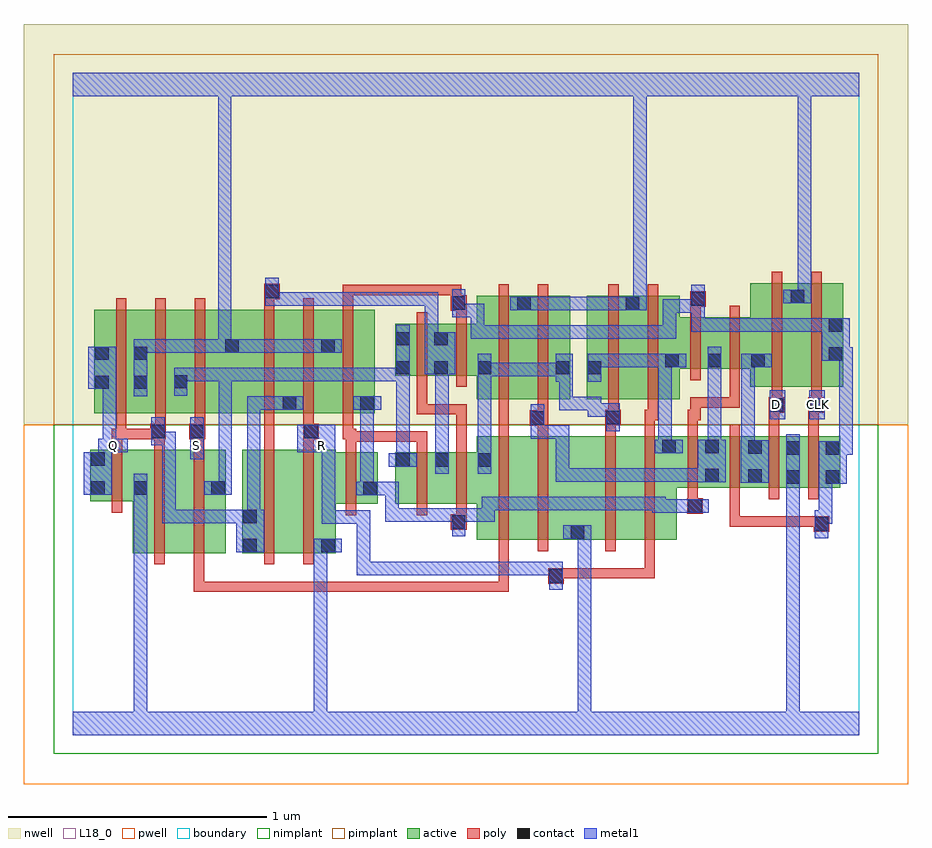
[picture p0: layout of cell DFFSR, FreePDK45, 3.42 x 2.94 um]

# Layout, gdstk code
import gdstk
lib = gdstk.Library(unit=1e-6, precision=1e-09)
def R(c, l, rs):  # rectangles x0, y0, x1, y1
    for r in rs: c.add(gdstk.rectangle(r[:2], r[2:], *l))
def A(c, l, x, y, w, h, nx, ny, dx, dy):  # array of equal rectangles
    R(c, l, [(x+i*dx, y+j*dy, x+i*dx+w, y+j*dy+h) for i in range(nx) for j in range(ny)])
active = (1, 0)
pwell = (2, 0)
nwell = (3, 0)
nimplant = (4, 0)
pimplant = (5, 0)
poly = (9, 0)
contact = (10, 0)
metal1 = (11, 0)
L18_0 = (18, 0)
boundary = (235, 0)

dffsr = lib.new_cell('DFFSR')
A(dffsr, active, 2.274, 0.956, 0.06, 0.2, 3, 1, 0.166, 0)
R(dffsr, active, [(0.232,0.704,0.412,1.104), (0.412,0.704,0.592,1.104), (0.656,0.704,0.836,1.104), (0.656,0.704,0.716,1.104), (0.836,0.704,1.016,1.104), (0.956,0.704,1.016,0.894), (0.532,0.756,0.592,1.104), (1.562,0.756,1.742,1.156), (1.742,0.756,1.98,1.156), (1.92,0.756,2.154,1.156), (1.92,0.756,1.98,0.816), (2.154,0.756,2.334,1.156), (0.956,0.894,1.18,1.094), (1.12,0.894,1.18,1.094), (1.246,0.894,1.458,1.094), (1.398,0.894,1.622,1.094), (0.068,0.904,0.128,1.104), (0.068,0.904,0.292,1.104), (0.232,0.926,0.292,1.104), (1.246,0.956,1.306,1.094), (1.398,0.956,1.458,1.094), (1.562,0.956,1.622,1.094), (2.274,0.956,2.5,1.156), (2.44,0.956,2.666,1.156), (2.606,0.956,2.814,1.156), (2.754,0.956,2.814,1.156), (2.754,0.956,2.966,1.156), (2.906,0.956,2.966,1.156), (0.084,1.244,0.144,1.644), (0.084,1.244,0.292,1.644), (0.232,1.244,0.292,1.644), (0.232,1.244,0.448,1.644), (0.388,1.244,0.448,1.644), (0.388,1.244,0.646,1.644), (0.586,1.244,0.646,1.644), (0.586,1.244,0.868,1.644), (0.808,1.244,0.868,1.644), (0.808,1.244,1.016,1.644), (0.956,1.244,1.168,1.644), (1.108,1.244,1.168,1.644), (1.562,1.298,1.774,1.698), (1.714,1.298,1.922,1.698), (1.862,1.298,1.922,1.644), (1.986,1.298,2.194,1.698), (1.986,1.298,2.046,1.644), (2.134,1.298,2.194,1.698), (2.134,1.298,2.346,1.698), (1.714,1.308,1.774,1.698), (0.956,1.312,1.016,1.644), (2.618,1.346,2.83,1.746), (2.77,1.346,2.83,1.746), (2.77,1.346,2.978,1.746), (2.918,1.346,2.978,1.746), (1.246,1.39,1.306,1.59), (1.246,1.39,1.454,1.59), (1.394,1.39,1.622,1.59), (1.394,1.39,1.454,1.562), (1.562,1.39,1.622,1.45), (2.286,1.416,2.51,1.616), (2.45,1.416,2.51,1.478), (2.45,1.416,2.678,1.616), (2.618,1.416,2.678,1.478), (2.286,1.418,2.346,1.478)])
R(dffsr, pwell, [(-0.188,-0.188,3.228,1.2)])
R(dffsr, nwell, [(-0.188,1.2,3.228,2.748)])
R(dffsr, nimplant, [(-0.072,-0.072,3.112,1.2)])
R(dffsr, pimplant, [(-0.072,1.2,3.112,2.632)])
A(dffsr, poly, 2.538, 0.912, 0.04, 0.288, 3, 1, 0.152, 0)
A(dffsr, poly, 0.168, 1.2, 0.04, 0.488, 3, 1, 0.152, 0)
A(dffsr, poly, 0.74, 1.2, 0.04, 0.488, 3, 1, 0.152, 0)
R(dffsr, poly, [(0.468,0.554,0.508,0.594), (0.468,0.554,0.508,0.594), (0.468,0.554,0.508,0.594), (0.468,0.554,0.508,0.7), (0.468,0.554,0.614,0.594), (0.574,0.554,0.614,0.594), (0.574,0.554,0.614,0.594), (0.574,0.554,0.614,0.594), (0.574,0.554,0.78,0.594), (0.74,0.554,0.78,0.594), (0.74,0.554,0.78,0.594), (0.74,0.554,0.78,0.594), (0.74,0.554,0.886,0.594), (0.846,0.554,0.886,0.594), (0.846,0.554,1.096,0.594), (1.056,0.554,1.096,0.594), (1.056,0.554,1.096,0.594), (1.056,0.554,1.096,0.594), (1.056,0.554,1.358,0.594), (1.318,0.554,1.358,0.594), (1.318,0.554,1.358,0.594), (1.318,0.554,1.358,0.594), (1.318,0.554,1.476,0.594), (1.436,0.554,1.476,0.594), (1.436,0.554,1.476,0.594), (1.436,0.554,1.476,0.594), (1.436,0.554,1.686,0.594), (1.646,0.554,1.686,0.594), (1.646,0.554,1.686,0.594), (1.646,0.554,1.686,0.594), (1.646,0.554,1.686,0.752), (1.838,0.586,1.898,0.646), (1.858,0.606,1.898,0.646), (1.858,0.606,1.898,0.646), (1.858,0.606,2.004,0.646), (1.964,0.606,2.004,0.646), (1.964,0.606,2.004,0.646), (1.964,0.606,2.004,0.646), (1.964,0.606,2.25,0.646), (2.21,0.606,2.25,0.646), (2.21,0.606,2.25,0.646), (2.21,0.606,2.25,0.646), (2.21,0.606,2.25,0.752), (0.316,0.66,0.356,1.148), (0.468,0.66,0.508,1.148), (0.74,0.66,0.78,1.148), (0.892,0.66,0.932,1.148), (1.646,0.712,1.686,1.2), (1.798,0.712,1.838,1.2), (2.058,0.712,2.098,1.2), (2.21,0.712,2.25,1.2), (2.864,0.786,2.924,0.846), (1.462,0.794,1.522,0.854), (2.538,0.806,2.578,0.846), (2.538,0.806,2.776,0.846), (2.538,0.806,2.578,0.952), (2.736,0.806,2.776,0.846), (2.736,0.806,2.776,0.846), (2.736,0.806,2.776,0.846), (2.736,0.806,2.904,0.846), (2.864,0.806,2.904,0.846), (2.864,0.806,2.904,0.846), (1.482,0.814,1.522,0.89), (1.056,0.85,1.096,1.138), (1.33,0.85,1.37,1.138), (1.482,0.85,1.522,1.138), (2.374,0.856,2.434,0.916), (0.152,0.86,0.192,1.148), (2.376,0.876,2.416,0.952), (2.376,0.912,2.416,1.2), (1.056,1.098,1.096,1.174), (1.33,1.098,1.37,1.174), (1.482,1.098,1.522,1.28), (0.152,1.108,0.192,1.184), (0.316,1.108,0.356,1.184), (0.468,1.108,0.508,1.184), (0.74,1.108,0.78,1.184), (0.892,1.108,0.932,1.184), (1.056,1.134,1.096,1.174), (1.056,1.134,1.096,1.174), (1.056,1.134,1.096,1.174), (1.056,1.134,1.37,1.174), (1.056,1.134,1.096,1.184), (1.33,1.134,1.37,1.174), (1.33,1.134,1.37,1.174), (1.33,1.134,1.37,1.174), (0.152,1.144,0.208,1.184), (0.168,1.144,0.208,1.184), (0.168,1.144,0.208,1.184), (0.168,1.144,0.208,1.24), (0.168,1.144,0.34,1.184), (0.3,1.144,0.34,1.184), (0.3,1.144,0.34,1.184), (0.3,1.144,0.36,1.204), (0.45,1.144,0.512,1.204), (0.468,1.144,0.508,1.184), (0.468,1.144,0.508,1.184), (0.74,1.144,0.78,1.184), (0.74,1.144,0.78,1.184), (0.74,1.144,0.78,1.184), (0.74,1.144,0.78,1.24), (0.892,1.144,0.952,1.204), (1.044,1.144,1.096,1.184), (1.044,1.144,1.084,1.24), (1.646,1.16,1.686,1.258), (1.798,1.16,1.838,1.236), (2.058,1.16,2.098,1.238), (2.21,1.16,2.25,1.258), (2.376,1.16,2.416,1.258), (2.69,1.16,2.73,1.286), (2.842,1.16,2.882,1.286), (0.32,1.164,0.36,1.24), (0.32,1.164,0.36,1.204), (0.32,1.164,0.36,1.204), (0.472,1.164,0.512,1.24), (0.892,1.164,0.932,1.24), (0.892,1.164,0.932,1.204), (0.892,1.164,0.932,1.204), (1.766,1.196,1.838,1.256), (2.058,1.198,2.098,1.238), (2.058,1.198,2.098,1.238), (2.058,1.198,2.118,1.258), (1.798,1.216,1.838,1.256), (1.798,1.216,1.838,1.256), (1.798,1.216,1.838,1.294), (1.646,1.218,1.686,1.294), (1.646,1.218,1.686,1.258), (1.646,1.218,1.686,1.258), (1.646,1.218,1.686,1.258), (2.07,1.218,2.11,1.294), (2.21,1.218,2.262,1.258), (2.222,1.218,2.262,1.294), (2.222,1.218,2.262,1.258), (2.222,1.218,2.262,1.258), (2.376,1.218,2.426,1.258), (2.386,1.218,2.426,1.306), (1.33,1.24,1.37,1.28), (1.33,1.24,1.37,1.386), (1.33,1.24,1.522,1.28), (1.482,1.24,1.522,1.28), (1.482,1.24,1.522,1.28), (1.482,1.24,1.522,1.28), (1.482,1.24,1.522,1.28), (1.482,1.24,1.522,1.28), (2.69,1.246,2.75,1.306), (2.842,1.246,2.882,1.286), (2.842,1.246,2.882,1.286), (2.842,1.246,2.902,1.306), (1.646,1.254,1.686,1.742), (1.798,1.254,1.838,1.742), (2.07,1.254,2.11,1.742), (2.222,1.254,2.262,1.742), (2.386,1.266,2.426,1.306), (2.386,1.266,2.426,1.306), (2.386,1.266,2.426,1.306), (2.386,1.266,2.578,1.306), (2.538,1.266,2.578,1.306), (2.538,1.266,2.578,1.412), (2.702,1.266,2.742,1.342), (2.702,1.266,2.742,1.306), (2.702,1.266,2.742,1.306), (2.854,1.266,2.894,1.342), (2.702,1.302,2.742,1.79), (2.854,1.302,2.894,1.79), (1.33,1.346,1.37,1.634), (1.482,1.346,1.522,1.634), (2.386,1.372,2.426,1.66), (2.538,1.372,2.578,1.66), (1.482,1.594,1.522,1.68), (2.386,1.62,2.426,1.696), (1.462,1.64,1.522,1.7), (0.74,1.648,0.78,1.724), (1.044,1.648,1.084,1.74), (2.386,1.656,2.446,1.716), (1.462,1.66,1.502,1.7), (1.462,1.66,1.502,1.74), (0.74,1.684,0.8,1.744), (1.044,1.7,1.084,1.74), (1.044,1.7,1.084,1.74), (1.044,1.7,1.084,1.74), (1.044,1.7,1.21,1.74), (1.17,1.7,1.21,1.74), (1.17,1.7,1.21,1.74), (1.17,1.7,1.21,1.74), (1.17,1.7,1.21,1.74), (1.17,1.7,1.21,1.74), (1.17,1.7,1.21,1.74), (1.17,1.7,1.21,1.74), (1.17,1.7,1.502,1.74)])
R(dffsr, contact, [(1.842,0.59,1.894,0.642), (0.66,0.708,0.712,0.76), (0.96,0.708,1.012,0.76), (1.924,0.76,1.976,0.812), (2.868,0.79,2.92,0.842), (1.466,0.798,1.518,0.85), (0.66,0.82,0.712,0.872), (2.378,0.86,2.43,0.912), (1.124,0.928,1.176,0.98), (0.072,0.93,0.124,0.982), (0.236,0.93,0.288,0.982), (0.536,0.93,0.588,0.982), (2.758,0.972,2.81,1.024), (2.91,0.972,2.962,1.024), (2.61,0.976,2.662,1.028), (2.444,0.978,2.496,1.03), (1.25,1.038,1.302,1.09), (1.402,1.038,1.454,1.09), (1.566,1.038,1.618,1.09), (0.072,1.042,0.124,1.094), (2.758,1.084,2.81,1.136), (2.91,1.084,2.962,1.136), (2.61,1.088,2.662,1.14), (2.278,1.09,2.33,1.142), (2.444,1.09,2.496,1.142), (0.304,1.148,0.356,1.2), (0.454,1.148,0.506,1.2), (0.896,1.148,0.948,1.2), (1.77,1.2,1.822,1.252), (2.062,1.202,2.114,1.254), (2.694,1.25,2.746,1.302), (2.846,1.25,2.898,1.302), (0.812,1.258,0.864,1.31), (1.112,1.258,1.164,1.31), (0.088,1.338,0.14,1.39), (0.236,1.338,0.288,1.39), (0.392,1.34,0.444,1.392), (1.25,1.394,1.302,1.446), (1.398,1.394,1.45,1.446), (1.566,1.394,1.618,1.446), (1.866,1.394,1.918,1.446), (1.99,1.394,2.042,1.446), (2.29,1.422,2.342,1.474), (2.454,1.422,2.506,1.474), (2.622,1.422,2.674,1.474), (2.922,1.448,2.974,1.5), (0.088,1.45,0.14,1.502), (0.236,1.45,0.288,1.502), (0.59,1.478,0.642,1.53), (0.96,1.478,1.012,1.53), (1.25,1.506,1.302,1.558), (1.398,1.506,1.45,1.558), (2.922,1.56,2.974,1.612), (1.718,1.642,1.77,1.694), (2.138,1.642,2.19,1.694), (1.466,1.644,1.518,1.696), (2.39,1.66,2.442,1.712), (2.774,1.67,2.826,1.722), (0.744,1.688,0.796,1.74)])
A(dffsr, metal1, 1.098, 0.618, 0.052, 0.052, 4, 1, 0.11, 0)
A(dffsr, metal1, 1.098, 0.618, 0.162, 0.052, 3, 1, 0.11, 0)
R(dffsr, metal1, [(0,0,3.04,0.092), (0.236,0.04,0.288,0.092), (0.236,0.04,0.288,0.092), (0.236,0.04,0.288,0.092), (0.236,0.04,0.288,0.092), (0.236,0.04,0.288,0.954), (0.932,0.04,0.984,0.092), (0.932,0.04,0.984,0.092), (0.932,0.04,0.984,0.092), (0.932,0.04,0.984,0.092), (0.932,0.04,0.984,0.092), (0.932,0.04,0.984,0.092), (0.932,0.04,0.984,0.092), (0.932,0.04,0.984,0.092), (0.932,0.04,0.984,0.092), (0.932,0.04,0.984,0.092), (0.932,0.04,0.984,0.76), (1.952,0.04,2.004,0.092), (1.952,0.04,2.004,0.092), (1.952,0.04,2.004,0.092), (1.952,0.04,2.004,0.092), (1.952,0.04,2.004,0.092), (1.952,0.04,2.004,0.092), (1.952,0.04,2.004,0.092), (1.952,0.04,2.004,0.092), (1.952,0.04,2.004,0.092), (1.952,0.04,2.004,0.092), (1.952,0.04,2.004,0.092), (1.952,0.04,2.004,0.092), (1.952,0.04,2.004,0.812), (2.758,0.04,2.81,0.092), (2.758,0.04,2.81,0.092), (2.758,0.04,2.81,0.092), (2.758,0.04,2.81,0.092), (2.758,0.04,2.81,0.092), (2.758,0.04,2.81,0.092), (2.758,0.04,2.81,0.092), (2.758,0.04,2.81,0.092), (2.758,0.04,2.81,0.092), (2.758,0.04,2.81,0.092), (2.758,0.04,2.81,0.092), (2.758,0.04,2.81,0.092), (2.758,0.04,2.81,0.092), (2.758,0.04,2.81,0.092), (2.758,0.04,2.81,0.092), (2.758,0.04,2.81,0.092), (2.758,0.04,2.81,0.996), (1.842,0.562,1.894,0.67), (1.098,0.618,1.15,0.87), (1.428,0.618,1.48,0.67), (1.428,0.618,1.48,0.67), (1.428,0.618,1.628,0.67), (1.576,0.618,1.628,0.67), (1.576,0.618,1.628,0.67), (1.576,0.618,1.628,0.67), (1.576,0.618,1.628,0.67), (1.576,0.618,1.628,0.67), (1.576,0.618,1.808,0.67), (1.756,0.618,1.808,0.67), (1.756,0.618,1.894,0.67), (0.632,0.708,0.74,0.872), (0.932,0.708,0.984,0.76), (0.932,0.708,0.984,0.76), (0.932,0.708,1.04,0.76), (1.896,0.76,2.004,0.812), (2.868,0.762,2.92,0.87), (1.466,0.77,1.518,0.878), (0.962,0.818,1.014,0.87), (0.962,0.818,1.15,0.87), (0.962,0.818,1.014,1.146), (1.098,0.818,1.15,0.87), (1.098,0.818,1.15,0.87), (1.098,0.818,1.15,0.87), (2.868,0.818,2.934,0.87), (2.882,0.818,2.934,0.87), (2.882,0.818,2.934,1.024), (0.346,0.82,0.398,0.872), (0.346,0.82,0.398,0.872), (0.346,0.82,0.398,0.872), (0.346,0.82,0.398,1.172), (0.346,0.82,0.56,0.872), (0.508,0.82,0.56,0.872), (0.508,0.82,0.56,0.872), (0.508,0.82,0.56,0.872), (0.508,0.82,0.684,0.872), (0.674,0.82,0.726,0.872), (0.674,0.82,0.726,0.872), (0.674,0.82,0.726,0.872), (0.674,0.82,0.726,0.872), (0.674,0.82,0.726,0.872), (0.674,0.82,0.726,0.872), (0.674,0.82,0.726,1.31), (1.208,0.826,1.26,0.878), (1.208,0.826,1.37,0.878), (1.208,0.826,1.26,0.98), (1.318,0.826,1.37,0.878), (1.318,0.826,1.37,0.878), (1.318,0.826,1.37,0.878), (1.318,0.826,1.518,0.878), (1.466,0.826,1.632,0.878), (1.58,0.826,1.632,0.878), (1.58,0.826,1.632,0.878), (1.58,0.826,1.632,0.922), (2.24,0.86,2.402,0.912), (2.24,0.86,2.292,0.922), (2.35,0.86,2.458,0.912), (1.58,0.87,1.808,0.922), (1.756,0.87,1.808,0.922), (1.756,0.87,1.808,0.922), (1.756,0.87,1.808,0.922), (1.756,0.87,2.004,0.922), (1.952,0.87,2.004,0.922), (1.952,0.87,2.004,0.922), (1.952,0.87,2.004,0.922), (1.952,0.87,2.182,0.922), (2.13,0.87,2.182,0.922), (2.13,0.87,2.182,0.922), (2.13,0.87,2.182,0.922), (2.13,0.87,2.292,0.922), (2.24,0.87,2.292,0.922), (2.24,0.87,2.292,0.922), (0.236,0.902,0.288,0.954), (0.236,0.902,0.288,0.954), (0.236,0.902,0.288,0.954), (0.236,0.902,0.288,0.954), (0.236,0.902,0.288,0.954), (0.236,0.902,0.288,0.954), (0.236,0.902,0.288,0.954), (0.236,0.902,0.288,0.954), (0.236,0.902,0.288,1.01), (1.096,0.928,1.204,0.98), (1.112,0.928,1.164,0.98), (1.112,0.928,1.164,0.98), (1.112,0.928,1.164,0.98), (1.112,0.928,1.164,0.98), (1.112,0.928,1.164,0.98), (1.112,0.928,1.164,0.98), (1.112,0.928,1.164,1.31), (1.152,0.928,1.26,0.98), (1.208,0.928,1.26,0.98), (0.044,0.93,0.152,1.094), (0.508,0.93,0.616,0.982), (0.564,0.93,0.616,0.982), (0.564,0.93,0.616,0.982), (0.564,0.93,0.616,1.42), (2.758,0.944,2.81,1.164), (2.882,0.972,2.934,1.024), (2.882,0.972,2.934,1.024), (2.882,0.972,2.99,1.136), (2.582,0.976,2.69,1.14), (2.416,0.978,2.524,1.142), (1.866,0.98,1.918,1.032), (1.866,0.98,2.042,1.032), (1.866,0.98,1.918,1.198), (1.99,0.98,2.042,1.032), (1.99,0.98,2.152,1.032), (2.1,0.98,2.152,1.032), (2.1,0.98,2.152,1.032), (2.1,0.98,2.152,1.032), (2.1,0.98,2.152,1.032), (2.1,0.98,2.152,1.032), (2.1,0.98,2.292,1.032), (2.24,0.98,2.292,1.032), (2.24,0.98,2.292,1.032), (2.24,0.98,2.292,1.032), (2.24,0.98,2.468,1.032), (2.416,0.98,2.468,1.032), (2.416,0.98,2.468,1.032), (1.402,1.01,1.454,1.118), (1.566,1.01,1.618,1.118), (1.222,1.038,1.33,1.09), (1.25,1.038,1.302,1.09), (1.25,1.038,1.302,1.09), (1.25,1.038,1.302,1.09), (1.25,1.038,1.302,1.09), (1.25,1.038,1.302,1.09), (1.25,1.038,1.302,1.09), (1.25,1.038,1.302,1.418), (0.1,1.042,0.152,1.146), (0.454,1.066,0.506,1.228), (1.402,1.066,1.454,1.118), (1.402,1.066,1.454,1.118), (1.402,1.066,1.454,1.118), (1.402,1.066,1.454,1.118), (1.402,1.066,1.454,1.446), (1.566,1.066,1.618,1.118), (1.566,1.066,1.618,1.118), (1.566,1.066,1.618,1.418), (2.938,1.084,2.99,1.136), (2.938,1.084,3.014,1.136), (2.962,1.084,3.014,1.5), (2.584,1.088,2.636,1.474), (2.25,1.09,2.358,1.142), (2.262,1.09,2.314,1.142), (2.262,1.09,2.314,1.142), (2.262,1.09,2.314,1.474), (2.454,1.09,2.506,1.446), (0.1,1.094,0.214,1.146), (0.116,1.094,0.168,1.39), (0.868,1.094,1.014,1.2), (0.962,1.094,1.014,1.146), (0.962,1.094,1.014,1.146), (0.962,1.094,1.014,1.146), (0.962,1.094,1.014,1.146), (0.962,1.094,1.014,1.146), (0.962,1.094,1.014,1.146), (0.304,1.12,0.356,1.228), (0.304,1.12,0.398,1.172), (0.346,1.12,0.398,1.172), (1.77,1.146,1.918,1.198), (1.77,1.146,1.822,1.28), (1.866,1.146,1.918,1.198), (2.062,1.174,2.114,1.282), (2.694,1.222,2.754,1.334), (2.846,1.222,2.906,1.334), (1.99,1.23,2.114,1.282), (1.99,1.23,2.042,1.308), (1.88,1.256,1.932,1.308), (1.88,1.256,2.042,1.308), (1.88,1.256,1.932,1.418), (0.674,1.258,0.726,1.31), (0.674,1.258,0.81,1.31), (0.758,1.258,0.81,1.31), (0.758,1.258,0.836,1.31), (0.784,1.258,0.892,1.31), (1.084,1.258,1.192,1.31), (0.236,1.31,0.288,1.53), (0.392,1.312,0.444,1.42), (0.06,1.338,0.168,1.502), (0.116,1.338,0.168,1.39), (0.116,1.338,0.168,1.39), (1.25,1.366,1.302,1.586), (1.566,1.366,1.618,1.418), (1.566,1.366,1.618,1.418), (1.566,1.366,1.618,1.474), (1.866,1.366,1.932,1.474), (1.99,1.366,2.042,1.474), (0.392,1.368,0.466,1.42), (0.414,1.368,0.466,1.42), (0.414,1.368,0.616,1.42), (0.564,1.368,0.616,1.42), (0.564,1.368,0.616,1.42), (0.564,1.368,0.616,1.42), (0.564,1.368,0.616,1.42), (0.564,1.368,0.616,1.42), (0.564,1.368,0.67,1.42), (0.618,1.368,0.67,1.42), (0.618,1.368,0.78,1.42), (0.728,1.368,0.78,1.42), (0.728,1.368,0.836,1.42), (0.784,1.368,0.836,1.42), (0.784,1.368,0.984,1.42), (0.932,1.368,0.984,1.42), (0.932,1.368,0.984,1.42), (0.932,1.368,0.984,1.42), (0.932,1.368,1.15,1.42), (1.098,1.368,1.15,1.42), (1.098,1.368,1.15,1.42), (1.098,1.368,1.15,1.42), (1.098,1.368,1.302,1.42), (1.566,1.388,1.636,1.44), (1.584,1.388,1.636,1.44), (1.584,1.388,1.792,1.44), (1.74,1.388,1.792,1.44), (1.74,1.388,1.792,1.44), (1.74,1.388,1.792,1.44), (1.74,1.388,1.918,1.44), (1.36,1.394,1.478,1.558), (1.402,1.394,1.454,1.446), (1.402,1.394,1.454,1.446), (2.454,1.394,2.506,1.446), (2.454,1.394,2.506,1.446), (2.454,1.394,2.506,1.446), (2.454,1.394,2.506,1.446), (2.454,1.394,2.506,1.446), (2.454,1.394,2.506,1.446), (2.454,1.394,2.506,1.502), (1.99,1.422,2.152,1.474), (2.1,1.422,2.152,1.474), (2.1,1.422,2.152,1.474), (2.1,1.422,2.152,1.474), (2.1,1.422,2.292,1.474), (2.24,1.422,2.292,1.474), (2.24,1.422,2.314,1.474), (2.262,1.422,2.314,1.474), (2.262,1.422,2.314,1.474), (2.262,1.422,2.37,1.474), (2.584,1.422,2.636,1.474), (2.584,1.422,2.636,1.474), (2.584,1.422,2.646,1.474), (2.594,1.422,2.646,1.474), (2.594,1.422,2.702,1.474), (2.894,1.448,3.002,1.612), (2.95,1.448,3.002,1.5), (2.95,1.448,3.014,1.5), (2.962,1.448,3.014,1.5), (2.962,1.448,3.014,1.5), (0.236,1.478,0.288,1.53), (0.236,1.478,0.288,1.53), (0.236,1.478,0.45,1.53), (0.398,1.478,0.45,1.53), (0.398,1.478,0.466,1.53), (0.414,1.478,0.466,1.53), (0.414,1.478,0.614,1.53), (0.562,1.478,0.614,1.53), (0.562,1.478,0.614,1.53), (0.562,1.478,0.67,1.53), (0.562,1.478,0.614,2.52), (0.618,1.478,0.67,1.53), (0.618,1.478,0.67,1.53), (0.618,1.478,0.81,1.53), (0.758,1.478,0.81,1.53), (0.758,1.478,0.836,1.53), (0.784,1.478,0.836,1.53), (0.784,1.478,0.984,1.53), (0.932,1.478,0.984,1.53), (0.932,1.478,0.984,1.53), (0.932,1.478,1.04,1.53), (1.36,1.506,1.412,1.712), (1.538,1.532,1.636,1.584), (1.538,1.532,1.59,1.668), (1.584,1.532,1.636,1.584), (1.584,1.532,1.746,1.584), (1.694,1.532,1.746,1.584), (1.694,1.532,1.746,1.584), (1.694,1.532,1.746,1.584), (1.694,1.532,1.918,1.584), (1.866,1.532,1.918,1.584), (1.866,1.532,2.042,1.584), (1.99,1.532,2.042,1.584), (1.99,1.532,2.152,1.584), (2.1,1.532,2.152,1.584), (2.1,1.532,2.152,1.584), (2.1,1.532,2.152,1.584), (2.1,1.532,2.292,1.584), (2.24,1.532,2.292,1.584), (2.24,1.532,2.332,1.584), (2.28,1.532,2.332,1.684), (2.39,1.56,2.442,1.612), (2.39,1.56,2.636,1.612), (2.39,1.56,2.442,1.684), (2.584,1.56,2.636,1.612), (2.584,1.56,2.636,1.612), (2.584,1.56,2.636,1.612), (2.584,1.56,2.774,1.612), (2.722,1.56,2.774,1.612), (2.722,1.56,2.774,1.612), (2.722,1.56,2.774,1.612), (2.722,1.56,2.946,1.612), (2.894,1.56,2.946,1.612), (2.894,1.56,2.946,1.612), (1.466,1.616,1.518,1.724), (1.466,1.616,1.59,1.668), (2.28,1.632,2.442,1.684), (2.39,1.632,2.442,1.684), (2.39,1.632,2.442,1.684), (2.39,1.632,2.442,1.74), (1.69,1.642,1.798,1.694), (1.746,1.642,1.798,1.694), (1.746,1.642,1.798,1.694), (1.746,1.642,2.004,1.694), (1.952,1.642,2.004,1.694), (1.952,1.642,2.004,1.694), (1.952,1.642,2.004,1.694), (1.952,1.642,2.162,1.694), (2.11,1.642,2.162,1.694), (2.11,1.642,2.162,1.694), (2.11,1.642,2.218,1.694), (2.166,1.642,2.218,1.708), (2.166,1.656,2.218,1.708), (2.166,1.656,2.218,1.708), (2.166,1.656,2.218,1.708), (2.166,1.656,2.218,1.708), (2.166,1.656,2.218,1.708), (2.166,1.656,2.218,1.708), (2.166,1.656,2.218,1.708), (2.166,1.656,2.218,1.708), (2.166,1.656,2.218,1.708), (2.166,1.656,2.218,1.708), (2.166,1.656,2.218,1.708), (2.166,1.656,2.218,1.708), (2.166,1.656,2.218,1.708), (2.166,1.656,2.218,2.52), (0.744,1.66,0.796,1.768), (0.744,1.66,0.874,1.712), (0.822,1.66,0.874,1.712), (0.822,1.66,0.984,1.712), (0.932,1.66,0.984,1.712), (0.932,1.66,0.984,1.712), (0.932,1.66,0.984,1.712), (0.932,1.66,1.124,1.712), (1.072,1.66,1.124,1.712), (1.072,1.66,1.124,1.712), (1.072,1.66,1.124,1.712), (1.072,1.66,1.26,1.712), (1.208,1.66,1.26,1.712), (1.208,1.66,1.37,1.712), (1.318,1.66,1.37,1.712), (1.318,1.66,1.408,1.712), (1.356,1.66,1.408,1.712), (1.356,1.66,1.408,1.712), (1.356,1.66,1.408,1.712), (1.356,1.66,1.408,1.712), (1.356,1.66,1.412,1.712), (2.746,1.67,2.854,1.722), (2.802,1.67,2.854,1.722), (2.802,1.67,2.854,1.722), (2.802,1.67,2.854,1.722), (2.802,1.67,2.854,1.722), (2.802,1.67,2.854,1.722), (2.802,1.67,2.854,1.722), (2.802,1.67,2.854,1.722), (2.802,1.67,2.854,1.722), (2.802,1.67,2.854,1.722), (2.802,1.67,2.854,1.722), (2.802,1.67,2.854,1.722), (2.802,1.67,2.854,1.722), (2.802,1.67,2.854,1.722), (2.802,1.67,2.854,1.722), (2.802,1.67,2.854,2.52), (0,2.468,3.04,2.56), (0.562,2.468,0.614,2.52), (0.562,2.468,0.614,2.52), (0.562,2.468,0.614,2.52), (0.562,2.468,0.614,2.52), (0.562,2.468,0.614,2.52), (0.562,2.468,0.614,2.52), (0.562,2.468,0.614,2.52), (0.562,2.468,0.614,2.52), (0.562,2.468,0.614,2.52), (0.562,2.468,0.614,2.52), (0.562,2.468,0.614,2.52), (0.562,2.468,0.614,2.52), (0.562,2.468,0.614,2.52), (0.562,2.468,0.614,2.52), (2.166,2.468,2.218,2.52), (2.166,2.468,2.218,2.52), (2.802,2.468,2.854,2.52), (2.802,2.468,2.854,2.52)])
A(dffsr, L18_0, 1.098, 0.618, 0.052, 0.052, 4, 1, 0.11, 0)
A(dffsr, L18_0, 1.098, 0.618, 0.162, 0.052, 3, 1, 0.11, 0)
R(dffsr, L18_0, [(0,0,3.04,0.092), (0.236,0.04,0.288,0.092), (0.236,0.04,0.288,0.092), (0.236,0.04,0.288,0.092), (0.236,0.04,0.288,0.092), (0.236,0.04,0.288,0.954), (0.932,0.04,0.984,0.092), (0.932,0.04,0.984,0.092), (0.932,0.04,0.984,0.092), (0.932,0.04,0.984,0.092), (0.932,0.04,0.984,0.092), (0.932,0.04,0.984,0.092), (0.932,0.04,0.984,0.092), (0.932,0.04,0.984,0.092), (0.932,0.04,0.984,0.092), (0.932,0.04,0.984,0.092), (0.932,0.04,0.984,0.76), (1.952,0.04,2.004,0.092), (1.952,0.04,2.004,0.092), (1.952,0.04,2.004,0.092), (1.952,0.04,2.004,0.092), (1.952,0.04,2.004,0.092), (1.952,0.04,2.004,0.092), (1.952,0.04,2.004,0.092), (1.952,0.04,2.004,0.092), (1.952,0.04,2.004,0.092), (1.952,0.04,2.004,0.092), (1.952,0.04,2.004,0.092), (1.952,0.04,2.004,0.092), (1.952,0.04,2.004,0.812), (2.758,0.04,2.81,0.092), (2.758,0.04,2.81,0.092), (2.758,0.04,2.81,0.092), (2.758,0.04,2.81,0.092), (2.758,0.04,2.81,0.092), (2.758,0.04,2.81,0.092), (2.758,0.04,2.81,0.092), (2.758,0.04,2.81,0.092), (2.758,0.04,2.81,0.092), (2.758,0.04,2.81,0.092), (2.758,0.04,2.81,0.092), (2.758,0.04,2.81,0.092), (2.758,0.04,2.81,0.092), (2.758,0.04,2.81,0.092), (2.758,0.04,2.81,0.092), (2.758,0.04,2.81,0.092), (2.758,0.04,2.81,0.996), (1.842,0.562,1.894,0.67), (1.098,0.618,1.15,0.87), (1.428,0.618,1.48,0.67), (1.428,0.618,1.48,0.67), (1.428,0.618,1.628,0.67), (1.576,0.618,1.628,0.67), (1.576,0.618,1.628,0.67), (1.576,0.618,1.628,0.67), (1.576,0.618,1.628,0.67), (1.576,0.618,1.628,0.67), (1.576,0.618,1.808,0.67), (1.756,0.618,1.808,0.67), (1.756,0.618,1.894,0.67), (0.932,0.708,0.984,0.76), (0.932,0.708,0.984,0.76), (0.932,0.708,1.04,0.76), (1.896,0.76,2.004,0.812), (0.962,0.818,1.014,0.87), (0.962,0.818,1.014,1.146), (0.962,0.818,1.15,0.87), (1.098,0.818,1.15,0.87), (1.098,0.818,1.15,0.87), (1.098,0.818,1.15,0.87), (0.236,0.902,0.288,0.954), (0.236,0.902,0.288,0.954), (0.236,0.902,0.288,0.954), (0.236,0.902,0.288,0.954), (0.236,0.902,0.288,0.954), (0.236,0.902,0.288,0.954), (0.236,0.902,0.288,0.954), (0.236,0.902,0.288,0.954), (0.236,0.902,0.288,1.01), (0.044,0.93,0.152,1.094), (2.758,0.944,2.81,1.164), (0.1,1.042,0.152,1.146), (0.454,1.066,0.506,1.228), (0.1,1.094,0.214,1.146), (0.116,1.094,0.168,1.39), (0.134,1.094,0.186,1.146), (0.454,1.094,0.506,1.146), (0.868,1.094,1.014,1.2), (0.934,1.094,0.986,1.146), (0.962,1.094,1.014,1.146), (0.962,1.094,1.014,1.146), (0.962,1.094,1.014,1.146), (0.962,1.094,1.014,1.146), (0.962,1.094,1.014,1.146), (0.962,1.094,1.014,1.146), (2.694,1.222,2.754,1.334), (2.846,1.222,2.906,1.334), (2.694,1.254,2.746,1.306), (2.854,1.254,2.906,1.306), (0.236,1.31,0.288,1.53), (0.06,1.338,0.168,1.502), (0.116,1.338,0.168,1.39), (0.116,1.338,0.168,1.39), (0.236,1.478,0.288,1.53), (0.236,1.478,0.288,1.53), (0.236,1.478,0.45,1.53), (0.398,1.478,0.45,1.53), (0.398,1.478,0.466,1.53), (0.414,1.478,0.466,1.53), (0.414,1.478,0.614,1.53), (0.562,1.478,0.614,1.53), (0.562,1.478,0.614,1.53), (0.562,1.478,0.67,1.53), (0.562,1.478,0.614,2.52), (0.618,1.478,0.67,1.53), (0.618,1.478,0.67,1.53), (0.618,1.478,0.81,1.53), (0.758,1.478,0.81,1.53), (0.758,1.478,0.836,1.53), (0.784,1.478,0.836,1.53), (0.784,1.478,0.984,1.53), (0.932,1.478,0.984,1.53), (0.932,1.478,0.984,1.53), (0.932,1.478,1.04,1.53), (1.69,1.642,1.798,1.694), (1.746,1.642,1.798,1.694), (1.746,1.642,1.798,1.694), (1.746,1.642,2.004,1.694), (1.952,1.642,2.004,1.694), (1.952,1.642,2.004,1.694), (1.952,1.642,2.004,1.694), (1.952,1.642,2.162,1.694), (2.11,1.642,2.162,1.694), (2.11,1.642,2.162,1.694), (2.11,1.642,2.218,1.694), (2.166,1.642,2.218,1.708), (2.166,1.656,2.218,1.708), (2.166,1.656,2.218,1.708), (2.166,1.656,2.218,1.708), (2.166,1.656,2.218,1.708), (2.166,1.656,2.218,1.708), (2.166,1.656,2.218,1.708), (2.166,1.656,2.218,1.708), (2.166,1.656,2.218,1.708), (2.166,1.656,2.218,1.708), (2.166,1.656,2.218,1.708), (2.166,1.656,2.218,1.708), (2.166,1.656,2.218,1.708), (2.166,1.656,2.218,1.708), (2.166,1.656,2.218,2.52), (2.746,1.67,2.854,1.722), (2.802,1.67,2.854,1.722), (2.802,1.67,2.854,1.722), (2.802,1.67,2.854,1.722), (2.802,1.67,2.854,1.722), (2.802,1.67,2.854,1.722), (2.802,1.67,2.854,1.722), (2.802,1.67,2.854,1.722), (2.802,1.67,2.854,1.722), (2.802,1.67,2.854,1.722), (2.802,1.67,2.854,1.722), (2.802,1.67,2.854,1.722), (2.802,1.67,2.854,1.722), (2.802,1.67,2.854,1.722), (2.802,1.67,2.854,1.722), (2.802,1.67,2.854,2.52), (0,2.468,3.04,2.56), (0.562,2.468,0.614,2.52), (0.562,2.468,0.614,2.52), (0.562,2.468,0.614,2.52), (0.562,2.468,0.614,2.52), (0.562,2.468,0.614,2.52), (0.562,2.468,0.614,2.52), (0.562,2.468,0.614,2.52), (0.562,2.468,0.614,2.52), (0.562,2.468,0.614,2.52), (0.562,2.468,0.614,2.52), (0.562,2.468,0.614,2.52), (0.562,2.468,0.614,2.52), (0.562,2.468,0.614,2.52), (0.562,2.468,0.614,2.52), (2.166,2.468,2.218,2.52), (2.166,2.468,2.218,2.52), (2.802,2.468,2.854,2.52), (2.802,2.468,2.854,2.52)])
R(dffsr, boundary, [(0,0,3.04,2.56)])
dffsr.add(gdstk.Label('CLK', (2.88,1.28), layer=11, texttype=0))
dffsr.add(gdstk.Label('D', (2.72,1.28), layer=11, texttype=0))
dffsr.add(gdstk.Label('Q', (0.16,1.12), layer=11, texttype=0))
dffsr.add(gdstk.Label('R', (0.96,1.12), layer=11, texttype=0))
dffsr.add(gdstk.Label('S', (0.48,1.12), layer=11, texttype=0))

lib.write_gds('DFFSR.gds')
